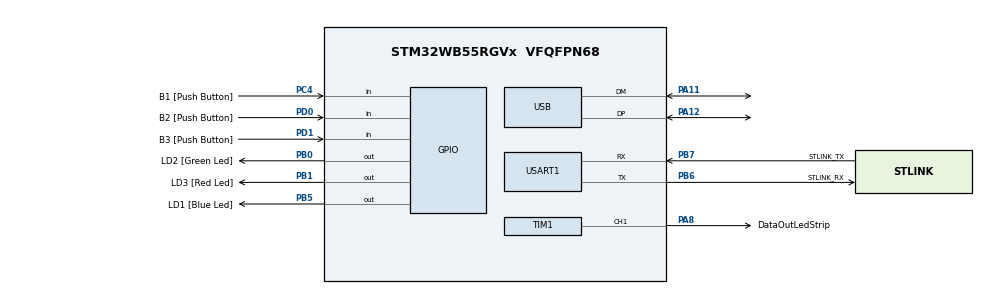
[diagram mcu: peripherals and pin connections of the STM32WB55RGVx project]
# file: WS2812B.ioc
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Mcu.Family=STM32WB
Mcu.Name=STM32WB55RGVx
Mcu.Package=VFQFPN68
Mcu.UserConstants=T0H,25;T1H,50
NVIC.PriorityGroup=NVIC_PRIORITYGROUP_4
NVIC.TIM1_CC_IRQn=true\:0\:0\:false\:false\:true\:true\:true
OSC_IN.Mode=HSE-External-Oscillator
OSC_IN.Signal=RCC_OSC_IN
OSC_OUT.Mode=HSE-External-Oscillator
OSC_OUT.Signal=RCC_OSC_OUT
PA11.Mode=Device
PA11.Signal=USB_DM
PA12.Mode=Device
PA12.Signal=USB_DP
PA13.GPIO_Label=JTMS
PA13.Mode=Trace_Asynchronous_SW
PA13.Signal=SYS_JTMS-SWDIO
PA14.GPIO_Label=JTCK
PA14.Mode=Trace_Asynchronous_SW
PA14.Signal=SYS_JTCK-SWCLK
PA8.GPIO_Label=DataOutLedStrip
PA8.Signal=S_TIM1_CH1
PB0.GPIO_Label=LD2 [Green Led]
PB0.Signal=GPIO_Output
PB1.GPIO_Label=LD3 [Red Led]
PB1.Signal=GPIO_Output
PB3.GPIO_Label=JTDO
PB3.Mode=Trace_Asynchronous_SW
PB3.Signal=SYS_JTDO-SWO
PB5.GPIO_Label=LD1 [Blue Led]
PB5.Signal=GPIO_Output
PB6.GPIO_Label=STLINK_RX
PB6.GPIO_PuPd=GPIO_PULLUP
PB6.Mode=Asynchronous
PB6.Signal=USART1_TX
PB7.GPIO_Label=STLINK_TX
PB7.GPIO_PuPd=GPIO_PULLUP
PB7.Mode=Asynchronous
PB7.Signal=USART1_RX
PC13.Mode=SYS_WakeUp1
PC13.Signal=SYS_WKUP2
PC14-OSC32_IN.Mode=LSE-External-Oscillator
PC14-OSC32_IN.Signal=RCC_OSC32_IN
PC15-OSC32_OUT.Mode=LSE-External-Oscillator
PC15-OSC32_OUT.Signal=RCC_OSC32_OUT
PC4.GPIO_Label=B1 [Push Button]
PC4.Signal=GPIO_Input
PD0.GPIO_Label=B2 [Push Button]
PD0.Signal=GPIO_Input
PD1.GPIO_Label=B3 [Push Button]
PD1.Signal=GPIO_Input
ProjectManager.HeapSize=0x200
ProjectManager.StackSize=0x400
ProjectManager.TargetToolchain=STM32CubeIDE
RCC.ADCFreq_Value=48000000
RCC.AHB2CLKDivider=RCC_SYSCLK_DIV2
RCC.AHBFreq_Value=64000000
RCC.APB1Freq_Value=64000000
RCC.APB1TimFreq_Value=64000000
RCC.APB2Freq_Value=64000000
RCC.APB2TimFreq_Value=64000000
RCC.APB3Freq_Value=16000000
RCC.Cortex2_Div=SYSTICK_CLKSOURCE_HCLK_DIV8
RCC.CortexFreq_Value=64000000
RCC.HCLKFreq_Value=64000000
RCC.HSE_VALUE=32000000
RCC.HSI48_VALUE=48000000
RCC.HSI_VALUE=16000000
RCC.PLLN=32
RCC.PLLSAI1N=24
RCC.SMPSCLockSelectionVirtual=RCC_SMPSCLKSOURCE_HSI
RCC.SMPSCLockSelectionVirtualVirtual=RCC_SMPSCLKSOURCE_HSI
RCC.SMPSDivider=1
RCC.SYSCLKFreq_VALUE=64000000
RCC.SYSCLKSource=RCC_SYSCLKSOURCE_PLLCLK
RCC.USBFreq_Value=48000000
RCC.VCOOutputFreq_Value=128000000
SH.S_TIM1_CH1.0=TIM1_CH1,PWM Generation1 CH1
TIM1.Channel-PWM\ Generation1\ CH1=TIM_CHANNEL_1
TIM1.Period=79
USART1.VirtualMode-Asynchronous=VM_ASYNC
USART1.WordLength=WORDLENGTH_7B
VP_TIM1_VS_ClockSourceINT.Mode=Internal
board=P-NUCLEO-WB55-Nucleo

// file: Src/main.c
/* USER CODE BEGIN Header */
/**
  ******************************************************************************
  * @file           : main.c
  * @brief          : Main program body
  ******************************************************************************
  * @attention
  *
  * <h2><center>&copy; Copyright (c) 2020 STMicroelectronics.
  * All rights reserved.</center></h2>
  *
  * This software component is licensed by ST under BSD 3-Clause license,
  * the "License"; You may not use this file except in compliance with the
  * License. You may obtain a copy of the License at:
  *                        opensource.org/licenses/BSD-3-Clause
  *
  ******************************************************************************
  */
/* USER CODE END Header */
#include "main.h"

TIM_HandleTypeDef htim1;

UART_HandleTypeDef huart1;

PCD_HandleTypeDef hpcd_USB_FS;

/* USER CODE BEGIN PV */
WS2812Driver_t PruebaLed;
/* USER CODE END PV */

void SystemClock_Config(void);
static void MX_GPIO_Init(void);
static void MX_USART1_UART_Init(void);
static void MX_USB_PCD_Init(void);
static void MX_TIM1_Init(void);

/* USER CODE BEGIN 0 */
void HAL_TIM_PWM_PulseFinishedCallback(TIM_HandleTypeDef *htim)
{
  //loads the next value or stops the timer
	if(PruebaLed.StopTimFlag)
	{
		HAL_TIM_PWM_Stop_IT(htim, TIM_CHANNEL_1);
		return;
	}
	//else, the value is loaded automatically from preloaded value
	if(!PruebaLed.bitCount)
	{
		if(!PruebaLed.ledCount)
		{
			htim1.Instance->CCR1 = 0;
			PruebaLed.StopTimFlag = 1;
			return;
		}
		else
		{
			PruebaLed.CurrentLed.RGB_Vals.ledRGB = *(PruebaLed.Array++);
			PruebaLed.bitCount = 24;
		}
	}
		/*****Load next Value****/
		htim1.Instance->CCR1 = (PruebaLed.CurrentLed.ledVals & 0x8000000)? T1H:T0H;
		PruebaLed.CurrentLed.ledVals = PruebaLed.CurrentLed.ledVals << 1;
		PruebaLed.bitCount--;
}

uint8_t StartLedFrame(WS2812Led_t *LedArray, uint8_t size)
{
	if(!PruebaLed.StopTimFlag)
		return 1; //it's currently in use
	PruebaLed.Array = LedArray;
	PruebaLed.ledCount = size-1;
	PruebaLed.CurrentLed.RGB_Vals.ledRGB =*(PruebaLed.Array++);
	PruebaLed.bitCount = 23;
	PruebaLed.StopTimFlag = 0;
	htim1.Instance->CCR1 = (PruebaLed.CurrentLed.ledVals & 0x8000000)? T1H:T0H;
	PruebaLed.CurrentLed.ledVals = PruebaLed.CurrentLed.ledVals << 1;
	HAL_TIM_PWM_Start_IT(&htim1, TIM_CHANNEL_1);
	/*Adelantamos el siguiente valor a cargar*/
	PruebaLed.bitCount = 22;
	htim1.Instance->CCR1 = (PruebaLed.CurrentLed.ledVals & 0x8000000)? T1H:T0H;
	PruebaLed.CurrentLed.ledVals = PruebaLed.CurrentLed.ledVals << 1;

	return 0;
}
/* USER CODE END 0 */

int main(void)
{
  /* USER CODE BEGIN 1 */
	//uint8_t Dir[3] = {0,1,1};
	WS2812Led_t LedDePrueba[3];
	LedDePrueba[0].bLED = 255;
	LedDePrueba[0].rLED = 0;//red
	LedDePrueba[0].gLED = 0;//
	LedDePrueba[1].bLED = 0;
	LedDePrueba[1].rLED = 255;//red
	LedDePrueba[1].gLED = 0;//
	LedDePrueba[2].bLED = 0;
	LedDePrueba[2].rLED = 0;//red
	LedDePrueba[2].gLED = 255;//
	PruebaLed.StopTimFlag = 1;
  /* USER CODE END 1 */

  /* MCU Configuration--------------------------------------------------------*/

  /* Reset of all peripherals, Initializes the Flash interface and the Systick. */
  HAL_Init();

  /* Configure the system clock */
  SystemClock_Config();

  /* Initialize all configured peripherals */
  MX_GPIO_Init();
  MX_USART1_UART_Init();
  MX_USB_PCD_Init();
  MX_TIM1_Init();
  /* USER CODE BEGIN 2 */
  StartLedFrame(LedDePrueba, 3);
  /* USER CODE END 2 */

  /* Infinite loop */
  /* USER CODE BEGIN WHILE */
  while (1)
  {
	  HAL_Delay(500);
		LedDePrueba[0].bLED += 4;
		LedDePrueba[0].rLED += 1;//red
		LedDePrueba[0].gLED += 2;//

		LedDePrueba[1].bLED += 2;
		LedDePrueba[1].rLED += 4;//red
		LedDePrueba[1].gLED += 1;//

		LedDePrueba[2].bLED -= 1;
		LedDePrueba[2].rLED -= 2;//red
		LedDePrueba[2].gLED -= 4;//
		StartLedFrame(LedDePrueba, 3);
    /* USER CODE END WHILE */

  }
}

void SystemClock_Config(void)
{
  RCC_OscInitTypeDef RCC_OscInitStruct = {0};
  RCC_ClkInitTypeDef RCC_ClkInitStruct = {0};
  RCC_PeriphCLKInitTypeDef PeriphClkInitStruct = {0};

  /** Configure LSE Drive Capability
  */
  HAL_PWR_EnableBkUpAccess();
  __HAL_RCC_LSEDRIVE_CONFIG(RCC_LSEDRIVE_LOW);
  /** Configure the main internal regulator output voltage
  */
  __HAL_PWR_VOLTAGESCALING_CONFIG(PWR_REGULATOR_VOLTAGE_SCALE1);
  /** Initializes the RCC Oscillators according to the specified parameters
  * in the RCC_OscInitTypeDef structure.
  */
  RCC_OscInitStruct.OscillatorType = RCC_OSCILLATORTYPE_HSI|RCC_OSCILLATORTYPE_HSE
                              |RCC_OSCILLATORTYPE_LSE|RCC_OSCILLATORTYPE_MSI;
  RCC_OscInitStruct.HSEState = RCC_HSE_ON;
  RCC_OscInitStruct.LSEState = RCC_LSE_ON;
  RCC_OscInitStruct.HSIState = RCC_HSI_ON;
  RCC_OscInitStruct.MSIState = RCC_MSI_ON;
  RCC_OscInitStruct.HSICalibrationValue = RCC_HSICALIBRATION_DEFAULT;
  RCC_OscInitStruct.MSICalibrationValue = RCC_MSICALIBRATION_DEFAULT;
  RCC_OscInitStruct.MSIClockRange = RCC_MSIRANGE_6;
  RCC_OscInitStruct.PLL.PLLState = RCC_PLL_ON;
  RCC_OscInitStruct.PLL.PLLSource = RCC_PLLSOURCE_MSI;
  RCC_OscInitStruct.PLL.PLLM = RCC_PLLM_DIV1;
  RCC_OscInitStruct.PLL.PLLN = 32;
  RCC_OscInitStruct.PLL.PLLP = RCC_PLLP_DIV2;
  RCC_OscInitStruct.PLL.PLLR = RCC_PLLR_DIV2;
  RCC_OscInitStruct.PLL.PLLQ = RCC_PLLQ_DIV2;
  if (HAL_RCC_OscConfig(&RCC_OscInitStruct) != HAL_OK)
  {
    Error_Handler();
  }
  /** Configure the SYSCLKSource, HCLK, PCLK1 and PCLK2 clocks dividers
  */
  RCC_ClkInitStruct.ClockType = RCC_CLOCKTYPE_HCLK4|RCC_CLOCKTYPE_HCLK2
                              |RCC_CLOCKTYPE_HCLK|RCC_CLOCKTYPE_SYSCLK
                              |RCC_CLOCKTYPE_PCLK1|RCC_CLOCKTYPE_PCLK2;
  RCC_ClkInitStruct.SYSCLKSource = RCC_SYSCLKSOURCE_PLLCLK;
  RCC_ClkInitStruct.AHBCLKDivider = RCC_SYSCLK_DIV1;
  RCC_ClkInitStruct.APB1CLKDivider = RCC_HCLK_DIV1;
  RCC_ClkInitStruct.APB2CLKDivider = RCC_HCLK_DIV1;
  RCC_ClkInitStruct.AHBCLK2Divider = RCC_SYSCLK_DIV2;
  RCC_ClkInitStruct.AHBCLK4Divider = RCC_SYSCLK_DIV1;

  if (HAL_RCC_ClockConfig(&RCC_ClkInitStruct, FLASH_LATENCY_3) != HAL_OK)
  {
    Error_Handler();
  }
  /** Initializes the peripherals clocks
  */
  PeriphClkInitStruct.PeriphClockSelection = RCC_PERIPHCLK_SMPS|RCC_PERIPHCLK_USART1
                              |RCC_PERIPHCLK_USB;
  PeriphClkInitStruct.PLLSAI1.PLLN = 24;
  PeriphClkInitStruct.PLLSAI1.PLLP = RCC_PLLP_DIV2;
  PeriphClkInitStruct.PLLSAI1.PLLQ = RCC_PLLQ_DIV2;
  PeriphClkInitStruct.PLLSAI1.PLLR = RCC_PLLR_DIV2;
  PeriphClkInitStruct.PLLSAI1.PLLSAI1ClockOut = RCC_PLLSAI1_USBCLK;
  PeriphClkInitStruct.Usart1ClockSelection = RCC_USART1CLKSOURCE_PCLK2;
  PeriphClkInitStruct.UsbClockSelection = RCC_USBCLKSOURCE_PLLSAI1;
  PeriphClkInitStruct.SmpsClockSelection = RCC_SMPSCLKSOURCE_HSI;
  PeriphClkInitStruct.SmpsDivSelection = RCC_SMPSCLKDIV_RANGE0;
  if (HAL_RCCEx_PeriphCLKConfig(&PeriphClkInitStruct) != HAL_OK)
  {
    Error_Handler();
  }
  /** Enable MSI Auto calibration
  */
  HAL_RCCEx_EnableMSIPLLMode();
}

static void MX_TIM1_Init(void)
{

  TIM_ClockConfigTypeDef sClockSourceConfig = {0};
  TIM_MasterConfigTypeDef sMasterConfig = {0};
  TIM_OC_InitTypeDef sConfigOC = {0};
  TIM_BreakDeadTimeConfigTypeDef sBreakDeadTimeConfig = {0};

  htim1.Instance = TIM1;
  htim1.Init.Prescaler = 0;
  htim1.Init.CounterMode = TIM_COUNTERMODE_UP;
  htim1.Init.Period = 70;
  htim1.Init.ClockDivision = TIM_CLOCKDIVISION_DIV1;
  htim1.Init.RepetitionCounter = 0;
  htim1.Init.AutoReloadPreload = TIM_AUTORELOAD_PRELOAD_DISABLE;
  if (HAL_TIM_Base_Init(&htim1) != HAL_OK)
  {
    Error_Handler();
  }
  sClockSourceConfig.ClockSource = TIM_CLOCKSOURCE_INTERNAL;
  if (HAL_TIM_ConfigClockSource(&htim1, &sClockSourceConfig) != HAL_OK)
  {
    Error_Handler();
  }
  if (HAL_TIM_PWM_Init(&htim1) != HAL_OK)
  {
    Error_Handler();
  }
  sMasterConfig.MasterOutputTrigger = TIM_TRGO_RESET;
  sMasterConfig.MasterOutputTrigger2 = TIM_TRGO2_RESET;
  sMasterConfig.MasterSlaveMode = TIM_MASTERSLAVEMODE_DISABLE;
  if (HAL_TIMEx_MasterConfigSynchronization(&htim1, &sMasterConfig) != HAL_OK)
  {
    Error_Handler();
  }
  sConfigOC.OCMode = TIM_OCMODE_PWM1;
  sConfigOC.Pulse = 0;
  sConfigOC.OCPolarity = TIM_OCPOLARITY_HIGH;
  sConfigOC.OCNPolarity = TIM_OCNPOLARITY_HIGH;
  sConfigOC.OCFastMode = TIM_OCFAST_DISABLE;
  sConfigOC.OCIdleState = TIM_OCIDLESTATE_RESET;
  sConfigOC.OCNIdleState = TIM_OCNIDLESTATE_RESET;
  if (HAL_TIM_PWM_ConfigChannel(&htim1, &sConfigOC, TIM_CHANNEL_1) != HAL_OK)
  {
    Error_Handler();
  }
  sBreakDeadTimeConfig.OffStateRunMode = TIM_OSSR_DISABLE;
  sBreakDeadTimeConfig.OffStateIDLEMode = TIM_OSSI_DISABLE;
  sBreakDeadTimeConfig.LockLevel = TIM_LOCKLEVEL_OFF;
  sBreakDeadTimeConfig.DeadTime = 0;
  sBreakDeadTimeConfig.BreakState = TIM_BREAK_DISABLE;
  sBreakDeadTimeConfig.BreakPolarity = TIM_BREAKPOLARITY_HIGH;
  sBreakDeadTimeConfig.BreakFilter = 0;
  sBreakDeadTimeConfig.BreakAFMode = TIM_BREAK_AFMODE_INPUT;
  sBreakDeadTimeConfig.Break2State = TIM_BREAK2_DISABLE;
  sBreakDeadTimeConfig.Break2Polarity = TIM_BREAK2POLARITY_HIGH;
  sBreakDeadTimeConfig.Break2Filter = 0;
  sBreakDeadTimeConfig.Break2AFMode = TIM_BREAK_AFMODE_INPUT;
  sBreakDeadTimeConfig.AutomaticOutput = TIM_AUTOMATICOUTPUT_DISABLE;
  if (HAL_TIMEx_ConfigBreakDeadTime(&htim1, &sBreakDeadTimeConfig) != HAL_OK)
  {
    Error_Handler();
  }
  HAL_TIM_MspPostInit(&htim1);

}

static void MX_USART1_UART_Init(void)
{

  huart1.Instance = USART1;
  huart1.Init.BaudRate = 115200;
  huart1.Init.WordLength = UART_WORDLENGTH_7B;
  huart1.Init.StopBits = UART_STOPBITS_1;
  huart1.Init.Parity = UART_PARITY_NONE;
  huart1.Init.Mode = UART_MODE_TX_RX;
  huart1.Init.HwFlowCtl = UART_HWCONTROL_NONE;
  huart1.Init.OverSampling = UART_OVERSAMPLING_16;
  huart1.Init.OneBitSampling = UART_ONE_BIT_SAMPLE_DISABLE;
  huart1.Init.ClockPrescaler = UART_PRESCALER_DIV1;
  huart1.AdvancedInit.AdvFeatureInit = UART_ADVFEATURE_NO_INIT;
  if (HAL_UART_Init(&huart1) != HAL_OK)
  {
    Error_Handler();
  }
  if (HAL_UARTEx_SetTxFifoThreshold(&huart1, UART_TXFIFO_THRESHOLD_1_8) != HAL_OK)
  {
    Error_Handler();
  }
  if (HAL_UARTEx_SetRxFifoThreshold(&huart1, UART_RXFIFO_THRESHOLD_1_8) != HAL_OK)
  {
    Error_Handler();
  }
  if (HAL_UARTEx_DisableFifoMode(&huart1) != HAL_OK)
  {
    Error_Handler();
  }

}

static void MX_USB_PCD_Init(void)
{

  hpcd_USB_FS.Instance = USB;
  hpcd_USB_FS.Init.dev_endpoints = 8;
  hpcd_USB_FS.Init.speed = PCD_SPEED_FULL;
  hpcd_USB_FS.Init.phy_itface = PCD_PHY_EMBEDDED;
  hpcd_USB_FS.Init.Sof_enable = DISABLE;
  hpcd_USB_FS.Init.low_power_enable = DISABLE;
  hpcd_USB_FS.Init.lpm_enable = DISABLE;
  hpcd_USB_FS.Init.battery_charging_enable = DISABLE;
  if (HAL_PCD_Init(&hpcd_USB_FS) != HAL_OK)
  {
    Error_Handler();
  }

}

static void MX_GPIO_Init(void)
{
  GPIO_InitTypeDef GPIO_InitStruct = {0};

  /* GPIO Ports Clock Enable */
  __HAL_RCC_GPIOC_CLK_ENABLE();
  __HAL_RCC_GPIOA_CLK_ENABLE();
  __HAL_RCC_GPIOB_CLK_ENABLE();
  __HAL_RCC_GPIOD_CLK_ENABLE();

  /*Configure GPIO pin Output Level */
  HAL_GPIO_WritePin(GPIOB, LD2_Pin|LD3_Pin|LD1_Pin, GPIO_PIN_RESET);

  /*Configure GPIO pin : B1_Pin */
  GPIO_InitStruct.Pin = B1_Pin;
  GPIO_InitStruct.Mode = GPIO_MODE_INPUT;
  GPIO_InitStruct.Pull = GPIO_NOPULL;
  HAL_GPIO_Init(B1_GPIO_Port, &GPIO_InitStruct);

  /*Configure GPIO pins : LD2_Pin LD3_Pin LD1_Pin */
  GPIO_InitStruct.Pin = LD2_Pin|LD3_Pin|LD1_Pin;
  GPIO_InitStruct.Mode = GPIO_MODE_OUTPUT_PP;
  GPIO_InitStruct.Pull = GPIO_NOPULL;
  GPIO_InitStruct.Speed = GPIO_SPEED_FREQ_LOW;
  HAL_GPIO_Init(GPIOB, &GPIO_InitStruct);

  /*Configure GPIO pins : B2_Pin B3_Pin */
  GPIO_InitStruct.Pin = B2_Pin|B3_Pin;
  GPIO_InitStruct.Mode = GPIO_MODE_INPUT;
  GPIO_InitStruct.Pull = GPIO_NOPULL;
  HAL_GPIO_Init(GPIOD, &GPIO_InitStruct);

}

void Error_Handler(void)
{
}

/************************ (C) COPYRIGHT STMicroelectronics *****END OF FILE****/
